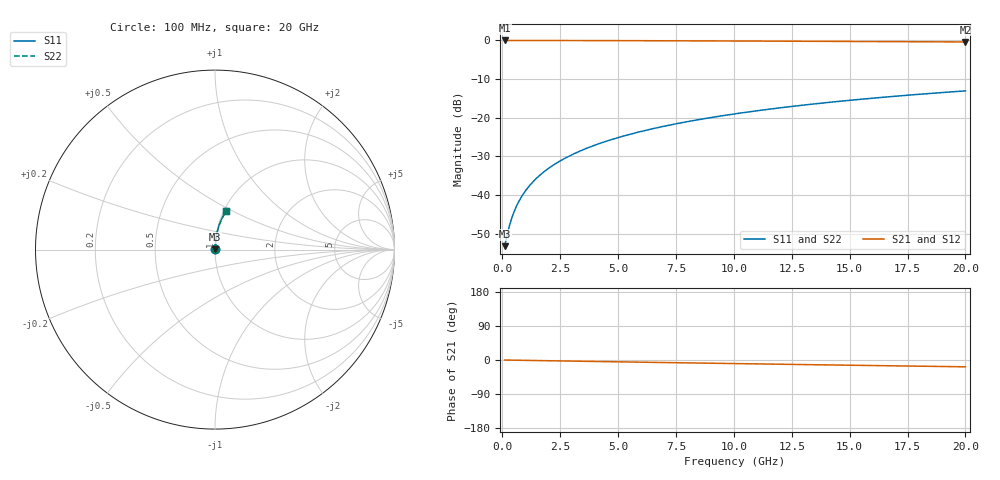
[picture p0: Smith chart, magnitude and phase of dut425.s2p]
! Touchstone file exported from HFSS 2024.1.0
!  File:  C:/UserFiles/LocalFiles/RDL_TSV_Batchsim/temp_RDL_top_425_1779676150.aedt
!  Generated:  10:31:46 AM May 25, 2026
!  Design:  RDL_top
!  Project:  temp_RDL_top_425_1779676150
!  Setup:  Setup1
!  Solution:  Sweep
! Variables:
!  dtsv = 10.80580581um
!  hbump = 3um
!  htsv = 95.68um
!  ldown = 100um
!  lrdl = 209.3um
!  p = 40
!  p1 = 42.46um
!  rhole = 1um
!  t = 450um
!  tdown = 3.915915916um
!  trdl = 3.29um
!  wdown = 15.38538539um
!  wrdl = 13.45um
# GHz S MA R 50.000000
! Terminal data exported
! Port[1] = Box2_T1
! Port[2] = Box2_T2
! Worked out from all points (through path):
!   200 points, 100 MHz to 20 GHz, reference 50 ohm
!   highest |S21| = -0.02 dB at 100 MHz (marker M1); lowest = -0.4 dB at 20 GHz (marker M2)
!   group delay of S21, straight-line fit = 2.49 ps
!   lowest |S11| = -53.2 dB at 100 MHz (marker M3), VSWR 1.00, Z = 50.2 + j0.116 ohm
!   |S11| at or under -10 dB: start of sweep to end of sweep
!   |S22| runs from -53.2 to -13.1 dB; largest |S21 - S12| = 2.1e-15
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0.1  0.002178 31.9  0.9981 -0.1  0.9981 -0.1  0.002178 31.9
! Gamma 0 0 0 0
! Port Impedance 50 0 50 0
0.2  0.002966 50.7  0.9981 -0.2  0.9981 -0.2  0.002966 50.7
0.3  0.003925 60.7  0.9981 -0.3  0.9981 -0.3  0.003925 60.7
0.4  0.004945 66.5  0.998 -0.4  0.998 -0.4  0.004945 66.5
0.5  0.005988 70.4  0.998 -0.5  0.998 -0.5  0.005988 70.4
0.6  0.007041 73.0  0.9979 -0.6  0.9979 -0.6  0.007041 73.0
0.8  0.009166 76.5  0.9978 -0.8  0.9978 -0.8  0.009166 76.5
1.1  0.01238 79.6  0.9976 -1.1  0.9976 -1.1  0.01238 79.6
1.5  0.0167 81.8  0.9974 -1.5  0.9974 -1.5  0.0167 81.8
1.8  0.01996 82.8  0.9972 -1.8  0.9972 -1.8  0.01996 82.8
2.1  0.02323 83.5  0.997 -2.1  0.997 -2.1  0.02323 83.5
2.7  0.02981 84.3  0.9964 -2.6  0.9964 -2.6  0.02981 84.3
3.5  0.03862 84.7  0.9954 -3.4  0.9954 -3.4  0.03862 84.7
4.2  0.04638 84.8  0.9945 -4.1  0.9945 -4.1  0.04637 84.8
5  0.05528 84.7  0.9932 -4.9  0.9932 -4.9  0.05528 84.7
5.9  0.06535 84.4  0.9916 -5.7  0.9916 -5.7  0.06534 84.4
6.8  0.07546 84.0  0.9898 -6.5  0.9898 -6.5  0.07546 84.0
8.3  0.09239 83.2  0.9865 -7.9  0.9865 -7.9  0.09239 83.2
10.1  0.1128 82.0  0.9823 -9.5  0.9823 -9.5  0.1128 82.0
13.4  0.15 79.4  0.9738 -12.4  0.9738 -12.4  0.15 79.4
16.7  0.1866 76.7  0.9646 -15.2  0.9646 -15.2  0.1866 76.7
20  0.2223 73.9  0.9547 -18.0  0.9547 -18.0  0.2223 73.9
